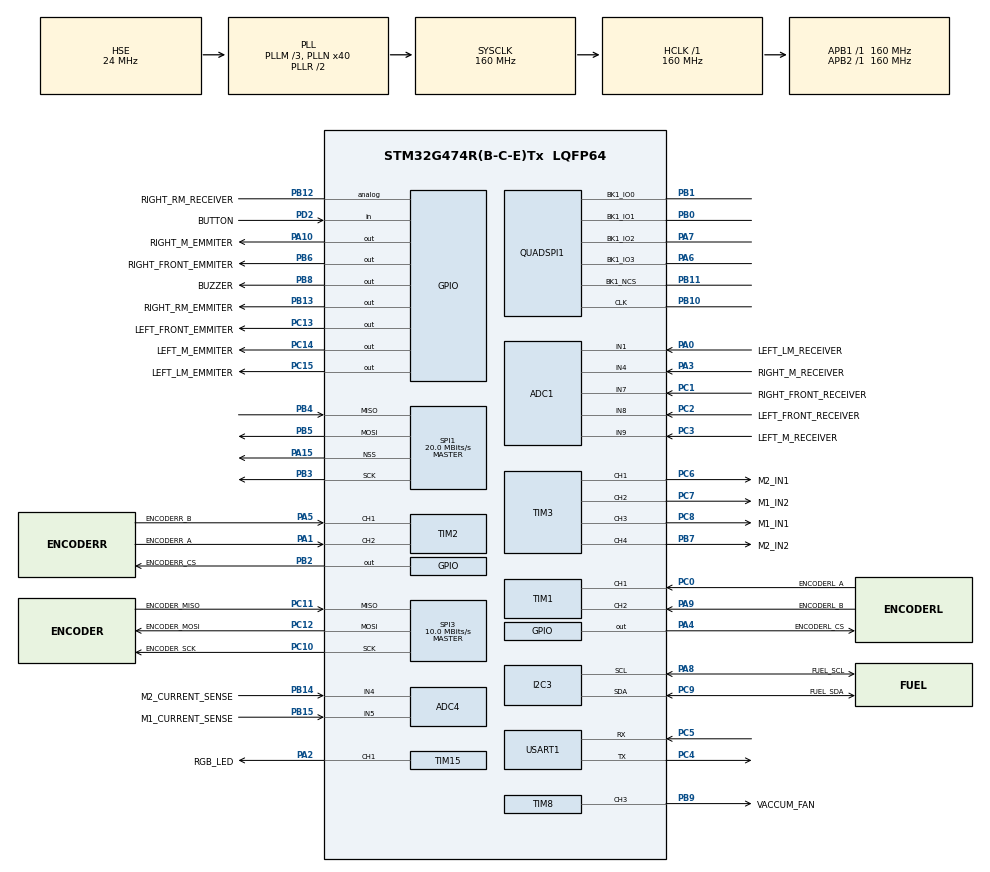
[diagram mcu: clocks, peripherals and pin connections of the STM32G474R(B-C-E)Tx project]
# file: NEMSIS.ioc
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ADC1.Channel-0\#ChannelRegularConversion=ADC_CHANNEL_1
ADC1.NbrOfConversionFlag=1
ADC1.OffsetNumber-0\#ChannelRegularConversion=ADC_OFFSET_NONE
ADC1.Rank-0\#ChannelRegularConversion=1
ADC1.SamplingTime-0\#ChannelRegularConversion=ADC_SAMPLETIME_2CYCLES_5
ADC1.master=1
ADC4.Channel-0\#ChannelRegularConversion=ADC_CHANNEL_4
ADC4.NbrOfConversionFlag=1
ADC4.OffsetNumber-0\#ChannelRegularConversion=ADC_OFFSET_NONE
ADC4.Rank-0\#ChannelRegularConversion=1
ADC4.SamplingTime-0\#ChannelRegularConversion=ADC_SAMPLETIME_2CYCLES_5
Dma.Request0=TIM15_CH1
Dma.TIM15_CH1.0.Direction=DMA_MEMORY_TO_PERIPH
Dma.TIM15_CH1.0.EventEnable=DISABLE
Dma.TIM15_CH1.0.Instance=DMA1_Channel1
Dma.TIM15_CH1.0.MemDataAlignment=DMA_MDATAALIGN_HALFWORD
Dma.TIM15_CH1.0.MemInc=DMA_MINC_ENABLE
Dma.TIM15_CH1.0.Mode=DMA_NORMAL
Dma.TIM15_CH1.0.PeriphDataAlignment=DMA_PDATAALIGN_HALFWORD
Dma.TIM15_CH1.0.PeriphInc=DMA_PINC_DISABLE
Dma.TIM15_CH1.0.Polarity=HAL_DMAMUX_REQ_GEN_RISING
Dma.TIM15_CH1.0.Priority=DMA_PRIORITY_LOW
Dma.TIM15_CH1.0.RequestNumber=1
Dma.TIM15_CH1.0.SignalID=NONE
Dma.TIM15_CH1.0.SyncEnable=DISABLE
Dma.TIM15_CH1.0.SyncPolarity=HAL_DMAMUX_SYNC_NO_EVENT
Dma.TIM15_CH1.0.SyncRequestNumber=1
Dma.TIM15_CH1.0.SyncSignalID=NONE
I2C3.Timing=0x30D29DE4
Mcu.Family=STM32G4
Mcu.Name=STM32G474R(B-C-E)Tx
Mcu.Package=LQFP64
NVIC.DMA1_Channel1_IRQn=true\:0\:0\:false\:false\:true\:false\:true\:true
NVIC.PriorityGroup=NVIC_PRIORITYGROUP_4
NVIC.TIM1_BRK_TIM15_IRQn=true\:0\:0\:false\:false\:true\:true\:true\:true
PA0.GPIO_Label=LEFT_LM_RECEIVER
PA0.Mode=IN1-Single-Ended
PA0.Signal=ADC1_IN1
PA1.GPIO_Label=ENCODERR_A
PA1.Signal=S_TIM2_CH2
PA10.GPIO_Label=RIGHT_M_EMMITER
PA10.Signal=GPIO_Output
PA13.Mode=Serial_Wire
PA13.Signal=SYS_JTMS-SWDIO
PA14.Mode=Serial_Wire
PA14.Signal=SYS_JTCK-SWCLK
PA15.Mode=NSS_Signal_Hard_Output
PA15.Signal=SPI1_NSS
PA2.GPIO_Label=RGB_LED
PA2.Signal=S_TIM15_CH1
PA3.GPIO_Label=RIGHT_M_RECEIVER
PA3.Mode=IN4-Single-Ended
PA3.Signal=ADC1_IN4
PA4.GPIO_Label=ENCODERL_CS
PA4.Signal=GPIO_Output
PA5.GPIO_Label=ENCODERR_B
PA5.Signal=S_TIM2_CH1
PA6.GPIO_Speed=GPIO_SPEED_FREQ_VERY_HIGH
PA6.Mode=Single Bank 1
PA6.Signal=QUADSPI1_BK1_IO3
PA7.GPIO_Speed=GPIO_SPEED_FREQ_VERY_HIGH
PA7.Mode=Single Bank 1
PA7.Signal=QUADSPI1_BK1_IO2
PA8.GPIO_Label=FUEL_SCL
PA8.GPIO_Pu=GPIO_PULLUP
PA8.Mode=I2C
PA8.Signal=I2C3_SCL
PA9.GPIO_Label=ENCODERL_B
PA9.Signal=S_TIM1_CH2
PB0.GPIO_Speed=GPIO_SPEED_FREQ_VERY_HIGH
PB0.Mode=Single Bank 1
PB0.Signal=QUADSPI1_BK1_IO1
PB1.GPIO_Speed=GPIO_SPEED_FREQ_VERY_HIGH
PB1.Mode=Single Bank 1
PB1.Signal=QUADSPI1_BK1_IO0
PB10.GPIO_Speed=GPIO_SPEED_FREQ_VERY_HIGH
PB10.Mode=Single Bank 1
PB10.Signal=QUADSPI1_CLK
PB11.GPIO_Speed=GPIO_SPEED_FREQ_VERY_HIGH
PB11.Mode=Single Bank 1
PB11.Signal=QUADSPI1_BK1_NCS
PB12.GPIO_Label=RIGHT_RM_RECEIVER
PB12.Signal=GPIO_Analog
PB13.GPIO_Label=RIGHT_RM_EMMITER
PB13.Signal=GPIO_Output
PB14.GPIO_Label=M2_CURRENT_SENSE
PB14.Mode=IN4-Single-Ended
PB14.Signal=ADC4_IN4
PB15.GPIO_Label=M1_CURRENT_SENSE
PB15.Mode=IN5-Single-Ended
PB15.Signal=ADC4_IN5
PB2.GPIO_Label=ENCODERR_CS
PB2.Signal=GPIO_Output
PB3.Mode=Full_Duplex_Master
PB3.Signal=SPI1_SCK
PB4.Mode=Full_Duplex_Master
PB4.Signal=SPI1_MISO
PB5.Mode=Full_Duplex_Master
PB5.Signal=SPI1_MOSI
PB6.GPIO_Label=RIGHT_FRONT_EMMITER
PB6.Signal=GPIO_Output
PB7.GPIO_Label=M2_IN2
PB7.Signal=S_TIM3_CH4
PB8-BOOT0.GPIO_Label=BUZZER
PB8-BOOT0.Signal=GPIO_Output
PB9.GPIO_Label=VACCUM_FAN
PB9.Signal=S_TIM8_CH3
PC0.GPIO_Label=ENCODERL_A
PC0.Signal=S_TIM1_CH1
PC1.GPIO_Label=RIGHT_FRONT_RECEIVER
PC1.Mode=IN7-Single-Ended
PC1.Signal=ADC1_IN7
PC10.GPIO_Label=ENCODER_SCK
PC10.Mode=Full_Duplex_Master
PC10.Signal=SPI3_SCK
PC11.GPIO_Label=ENCODER_MISO
PC11.Mode=Full_Duplex_Master
PC11.Signal=SPI3_MISO
PC12.GPIO_Label=ENCODER_MOSI
PC12.Mode=Full_Duplex_Master
PC12.Signal=SPI3_MOSI
PC13.GPIO_Label=LEFT_FRONT_EMMITER
PC13.Signal=GPIO_Output
PC14-OSC32_IN.GPIO_Label=LEFT_M_EMMITER
PC14-OSC32_IN.Signal=GPIO_Output
PC15-OSC32_OUT.GPIO_Label=LEFT_LM_EMMITER
PC15-OSC32_OUT.Signal=GPIO_Output
PC2.GPIO_Label=LEFT_FRONT_RECEIVER
PC2.Mode=IN8-Single-Ended
PC2.Signal=ADC1_IN8
PC3.GPIO_Label=LEFT_M_RECEIVER
PC3.Mode=IN9-Single-Ended
PC3.Signal=ADC1_IN9
PC4.Mode=Asynchronous
PC4.Signal=USART1_TX
PC5.Mode=Asynchronous
PC5.Signal=USART1_RX
PC6.GPIO_Label=M2_IN1
PC6.Signal=S_TIM3_CH1
PC7.GPIO_Label=M1_IN2
PC7.Signal=S_TIM3_CH2
PC8.GPIO_Label=M1_IN1
PC8.Signal=S_TIM3_CH3
PC9.GPIO_Label=FUEL_SDA
PC9.GPIO_Pu=GPIO_PULLUP
PC9.Mode=I2C
PC9.Signal=I2C3_SDA
PD2.GPIO_Label=BUTTON
PD2.Signal=GPIO_Input
PF0-OSC_IN.Mode=HSE-External-Oscillator
PF0-OSC_IN.Signal=RCC_OSC_IN
PF1-OSC_OUT.Mode=HSE-External-Oscillator
PF1-OSC_OUT.Signal=RCC_OSC_OUT
ProjectManager.HeapSize=0x200
ProjectManager.StackSize=0x400
ProjectManager.TargetToolchain=STM32CubeIDE
QUADSPI1.ChipSelectHighTime=QSPI_CS_HIGH_TIME_6_CYCLE
QUADSPI1.ClockPrescaler=3
QUADSPI1.FifoThreshold=4
QUADSPI1.FlashSize=21
RCC.ADC12Freq_Value=160000000
RCC.ADC345Freq_Value=160000000
RCC.AHBFreq_Value=160000000
RCC.APB1Freq_Value=160000000
RCC.APB1TimFreq_Value=160000000
RCC.APB2Freq_Value=160000000
RCC.APB2TimFreq_Value=160000000
RCC.CortexFreq_Value=160000000
RCC.EXTERNAL_CLOCK_VALUE=12288000
RCC.HCLKFreq_Value=160000000
RCC.HSE_VALUE=24000000
RCC.HSI48_VALUE=48000000
RCC.HSI_VALUE=16000000
RCC.LSE_VALUE=32768
RCC.PLLM=RCC_PLLM_DIV3
RCC.PLLN=40
RCC.PLLQ=RCC_PLLQ_DIV4
RCC.PLLSourceVirtual=RCC_PLLSOURCE_HSE
RCC.SYSCLKFreq_VALUE=160000000
RCC.SYSCLKSource=RCC_SYSCLKSOURCE_PLLCLK
RCC.USBFreq_Value=80000000
RCC.VCOOutputFreq_Value=320000000
SH.S_TIM15_CH1.0=TIM15_CH1,PWM Generation1 CH1
SH.S_TIM1_CH1.0=TIM1_CH1,Encoder_Interface
SH.S_TIM1_CH2.0=TIM1_CH2,Encoder_Interface
SH.S_TIM2_CH1.0=TIM2_CH1,Encoder_Interface
SH.S_TIM2_CH2.0=TIM2_CH2,Encoder_Interface
SH.S_TIM3_CH1.0=TIM3_CH1,PWM Generation1 CH1
SH.S_TIM3_CH2.0=TIM3_CH2,Output Compare2 CH2
SH.S_TIM3_CH3.0=TIM3_CH3,PWM Generation3 CH3
SH.S_TIM3_CH4.0=TIM3_CH4,PWM Generation4 CH4
SH.S_TIM8_CH3.0=TIM8_CH3,PWM Generation3 CH3
SPI1.BaudRatePrescaler=SPI_BAUDRATEPRESCALER_8
SPI1.CalculateBaudRate=20.0 MBits/s
SPI1.DataSize=SPI_DATASIZE_8BIT
SPI1.Direction=SPI_DIRECTION_2LINES
SPI1.Mode=SPI_MODE_MASTER
SPI1.VirtualNSS=VM_NSSHARD
SPI1.VirtualType=VM_MASTER
SPI3.BaudRatePrescaler=SPI_BAUDRATEPRESCALER_16
SPI3.CLKPhase=SPI_PHASE_2EDGE
SPI3.CalculateBaudRate=10.0 MBits/s
SPI3.DataSize=SPI_DATASIZE_8BIT
SPI3.Direction=SPI_DIRECTION_2LINES
SPI3.Mode=SPI_MODE_MASTER
SPI3.VirtualType=VM_MASTER
TIM15.Channel-PWM\ Generation1\ CH1=TIM_CHANNEL_1
TIM15.PeriodNoDither=100-1
TIM15.Prescaler=2-1
TIM3.Channel-Output\ Compare2\ CH2=TIM_CHANNEL_2
TIM3.Channel-PWM\ Generation1\ CH1=TIM_CHANNEL_1
TIM3.Channel-PWM\ Generation3\ CH3=TIM_CHANNEL_3
TIM3.Channel-PWM\ Generation4\ CH4=TIM_CHANNEL_4
TIM8.Channel-PWM\ Generation3\ CH3=TIM_CHANNEL_3
USART1.VirtualMode-Asynchronous=VM_ASYNC
VP_SYS_VS_DBSignals.Mode=DisableDeadBatterySignals
board=custom

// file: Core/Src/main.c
/* USER CODE BEGIN Header */
/**
 ******************************************************************************
 * @file           : main.c
 * @brief          : Main program body
 ******************************************************************************
 * @attention
 *
 * Copyright (c) 2026 STMicroelectronics.
 * All rights reserved.
 *
 * This software is licensed under terms that can be found in the LICENSE file
 * in the root directory of this software component.
 * If no LICENSE file comes with this software, it is provided AS-IS.
 *
 ******************************************************************************
 */
/* USER CODE END Header */
#include "main.h"

/* USER CODE BEGIN Includes */
#include "ws2812.h"
#include "buzzer.h"
#include "dbg.h"
#include "icm42688.h"
#include "max17049.h"
#include "motor.h"
#include "as5047p.h"
#include "battery.h"
#include "console.h"
#include "sensors.h"
#include "launcher.h"
#include "control.h"
#include "solver.h"
#include "mazestore.h"
/* USER CODE END Includes */

ADC_HandleTypeDef hadc1;
ADC_HandleTypeDef hadc4;

I2C_HandleTypeDef hi2c3;

QSPI_HandleTypeDef hqspi1;

SPI_HandleTypeDef hspi1;
SPI_HandleTypeDef hspi3;

TIM_HandleTypeDef htim1;
TIM_HandleTypeDef htim2;
TIM_HandleTypeDef htim3;
TIM_HandleTypeDef htim8;
TIM_HandleTypeDef htim15;
DMA_HandleTypeDef hdma_tim15_ch1;

UART_HandleTypeDef huart1;

void SystemClock_Config(void);
static void MX_GPIO_Init(void);
static void MX_DMA_Init(void);
static void MX_TIM15_Init(void);
static void MX_SPI1_Init(void);
static void MX_I2C3_Init(void);
static void MX_ADC4_Init(void);
static void MX_SPI3_Init(void);
static void MX_TIM1_Init(void);
static void MX_TIM2_Init(void);
static void MX_ADC1_Init(void);
static void MX_TIM8_Init(void);
static void MX_USART1_UART_Init(void);
static void MX_TIM3_Init(void);
static void MX_QUADSPI1_Init(void);

/* USER CODE BEGIN 0 */

/* ====================== IR reflectance sensors ========================
   6 emitter/receiver pairs. Naming: side (LEFT/RIGHT) + position
   (LM = left-most, M = middle, FRONT). Emitters are GPIO outputs that drive
   an IR LED through a MOSFET (active-HIGH). Receivers are phototransistors
   read by an ADC.

   Receiver -> ADC mapping (from main.h pins / CubeMX MSP comments):
     RIGHT_RM    PB12 -> ADC4_IN3   (hadc4)
     LEFT_LM     PA0  -> ADC1_IN1   \
     RIGHT_M     PA3  -> ADC1_IN4    |
     RIGHT_FRONT PC1  -> ADC1_IN7    >  ADC1 (hadc1), configured in CubeMX
     LEFT_FRONT  PC2  -> ADC1_IN8    |
     LEFT_M      PC3  -> ADC1_IN9   /
   ====================================================================== */

#define IR_AVG_SAMPLES  16U     /* conversions averaged per phase (noise floor) */

/* Average N single conversions of one channel on the given ADC. Reconfigures
   the channel each call so one ADC can be shared across several inputs. */
static uint16_t ADC_ReadAvg(ADC_HandleTypeDef *adc, uint32_t channel, uint32_t n)
{
  ADC_ChannelConfTypeDef c = {0};
  c.Channel      = channel;
  c.Rank         = ADC_REGULAR_RANK_1;
  c.SamplingTime = ADC_SAMPLETIME_640CYCLES_5;  /* high-Z phototransistor node */
  c.SingleDiff   = ADC_SINGLE_ENDED;
  c.OffsetNumber = ADC_OFFSET_NONE;
  c.Offset       = 0;
  HAL_ADC_ConfigChannel(adc, &c);

  uint32_t acc = 0;
  for (uint32_t i = 0; i < n; i++)
  {
    HAL_ADC_Start(adc);
    HAL_ADC_PollForConversion(adc, 10);
    acc += HAL_ADC_GetValue(adc);
    HAL_ADC_Stop(adc);
  }
  return (uint16_t)(acc / n);
}

/* One IR sensor: its emitter GPIO + the ADC + channel its receiver sits on. */
typedef struct
{
  const char        *name;
  GPIO_TypeDef      *em_port;
  uint16_t           em_pin;
  ADC_HandleTypeDef *adc;
  uint32_t           channel;
} IR_Sensor;

#define IR_COUNT 6
static const IR_Sensor ir_sensors[IR_COUNT] =
{
  { "L_LM", LEFT_LM_EMMITER_GPIO_Port,     LEFT_LM_EMMITER_Pin,     &hadc1, ADC_CHANNEL_1 }, /* recv PA0=ADC1_IN1 */
  { "L_M",  LEFT_M_EMMITER_GPIO_Port,      LEFT_M_EMMITER_Pin,      &hadc1, ADC_CHANNEL_9 }, /* recv PC3=ADC1_IN9 */
  { "L_F",  LEFT_FRONT_EMMITER_GPIO_Port,  LEFT_FRONT_EMMITER_Pin,  &hadc1, ADC_CHANNEL_8 }, /* recv PC2=ADC1_IN8 */
  { "R_F",  RIGHT_FRONT_EMMITER_GPIO_Port, RIGHT_FRONT_EMMITER_Pin, &hadc1, ADC_CHANNEL_7 }, /* recv PC1=ADC1_IN7 */
  { "R_M",  RIGHT_M_EMMITER_GPIO_Port,     RIGHT_M_EMMITER_Pin,     &hadc1, ADC_CHANNEL_4 }, /* recv PA3=ADC1_IN4 */
  { "R_RM", RIGHT_RM_EMMITER_GPIO_Port,    RIGHT_RM_EMMITER_Pin,    &hadc4,    ADC_CHANNEL_3 }, /* recv PB12=ADC4_IN3 */
};

/* Reflective read of one sensor: emitter OFF (ambient) then ON (ambient + IR);
   reflected = lit - ambient. Only one emitter is ever on at a time, so there's
   no optical crosstalk between sensors. Emitter assumed active-HIGH. */
static void IR_Read(const IR_Sensor *s, uint16_t *amb, uint16_t *lit)
{
  HAL_GPIO_WritePin(s->em_port, s->em_pin, GPIO_PIN_RESET);
  HAL_Delay(1);
  *amb = ADC_ReadAvg(s->adc, s->channel, IR_AVG_SAMPLES);

  HAL_GPIO_WritePin(s->em_port, s->em_pin, GPIO_PIN_SET);
  HAL_Delay(1);                                   /* let LED + receiver settle */
  *lit = ADC_ReadAvg(s->adc, s->channel, IR_AVG_SAMPLES);

  HAL_GPIO_WritePin(s->em_port, s->em_pin, GPIO_PIN_RESET);
}

/* USER CODE END 0 */

int main(void)
{

  /* USER CODE BEGIN 1 */
#ifdef APP_VTOR_BASE
  /* OTA-relocated build (env:app_ota): the app lives at 0x08008000, reached via
     the bootloader. Point the vector table at the app base HERE, before HAL_Init
     enables SysTick or any IRQ - unambiguous and independent of the framework's
     fragile VECT_TAB_OFFSET macro. (The bootloader also sets VTOR before the
     jump; this makes the app self-correct regardless of how it was entered.) */
  SCB->VTOR = (uint32_t)(APP_VTOR_BASE);
#endif
  uint32_t last_led = 0;     /* heartbeat LED scheduler */
  uint8_t  led_step = 0;
  uint32_t last_sens = 0;    /* IR sensor sweep scheduler (~100 Hz) */
  /* USER CODE END 1 */

  /* MCU Configuration--------------------------------------------------------*/

  /* Reset of all peripherals, Initializes the Flash interface and the Systick. */
  HAL_Init();

  /* Configure the system clock */
  SystemClock_Config();

  /* Initialize all configured peripherals */
  MX_GPIO_Init();
  MX_DMA_Init();
  MX_TIM15_Init();
  MX_SPI1_Init();
  MX_I2C3_Init();
  MX_ADC4_Init();
  MX_SPI3_Init();
  MX_TIM1_Init();
  MX_TIM2_Init();
  MX_ADC1_Init();
  MX_TIM8_Init();
  MX_USART1_UART_Init();
  MX_TIM3_Init();
  MX_QUADSPI1_Init();
  /* USER CODE BEGIN 2 */
  DBG_Init();
  LOG("\r\n=== Nemisis boot ===\r\n");
  LOG("build: " __DATE__ " " __TIME__ "\r\n");   /* prove which binary is running */

  /* --- Persistent maze / speed-run memory (internal flash) --------------
     Reads the reset cause FIRST (before anything clears the flags): a cold
     power-on / battery swap KEEPS the last saved run, a warm NRST-button reset
     ERASES it. Then loads any saved map so a long-press fast run is available
     after a power cycle. Must run before the launcher/solver use the map. */
  MazeStore_Init();

  /* Recompute SystemCoreClock straight from the RCC registers, then dump the
     actual PLL config so we can see what the silicon is really doing. */
  SystemCoreClockUpdate();
  LOG("SYSCLK = %lu Hz  (HSE_VALUE=%lu)\r\n",
      (unsigned long)SystemCoreClock, (unsigned long)HSE_VALUE);
  LOG("PLLCFGR=0x%08lX  PLLM=%lu PLLN=%lu PLLR=%lu\r\n",
      (unsigned long)RCC->PLLCFGR,
      (unsigned long)(((RCC->PLLCFGR & RCC_PLLCFGR_PLLM) >> RCC_PLLCFGR_PLLM_Pos) + 1U),
      (unsigned long)((RCC->PLLCFGR & RCC_PLLCFGR_PLLN) >> RCC_PLLCFGR_PLLN_Pos),
      (unsigned long)((((RCC->PLLCFGR & RCC_PLLCFGR_PLLR) >> RCC_PLLCFGR_PLLR_Pos) + 1U) * 2U));
  LOG("CR=0x%08lX  HSERDY=%lu PLLRDY=%lu  CFGR_SWS=%lu (3=PLL)\r\n",
      (unsigned long)RCC->CR,
      (unsigned long)((RCC->CR & RCC_CR_HSERDY) ? 1U : 0U),
      (unsigned long)((RCC->CR & RCC_CR_PLLRDY) ? 1U : 0U),
      (unsigned long)((RCC->CFGR & RCC_CFGR_SWS) >> RCC_CFGR_SWS_Pos));

  Buzzer_Init();
  WS2812_Init(&htim15, TIM_CHANNEL_1);

  /* cool power-on chime */
  Buzzer_StartupSound();

  /* --- ICM-42688-P IMU bring-up check (SPI1) ---------------------------- */
  bool imu_ok = ICM42688_Init(&hspi1);       /* soft reset + WHO_AM_I + power on */
  uint8_t imu_who = ICM42688_ReadReg(&hspi1, 0x75);  /* read it back for the log */
  LOG("IMU WHO_AM_I = 0x%02X (expect 0x%02X) -> %s\r\n",
      imu_who, ICM42688_WHOAMI,
      imu_ok ? "OK" : "FAILED (check wiring/CS/SPI cfg)");

  /* --- I2C3 bus scan (diagnostic): list every 7-bit address that ACKs --- */
  LOG("I2C3 scan:");
  uint8_t found = 0;
  for (uint8_t a = 1; a < 128; a++)
  {
    if (HAL_I2C_IsDeviceReady(&hi2c3, (uint16_t)(a << 1), 2, 5) == HAL_OK)
    {
      LOG(" 0x%02X", a);
      found++;
    }
  }
  LOG("  (%u device(s))\r\n", found);

  /* --- MAX17049 fuel gauge bring-up check (I2C3) ------------------------ */
  bool fuel_ok = MAX17049_Probe(&hi2c3);
  if (fuel_ok)
  {
    MAX17049_Status s;
    MAX17049_ReadStatus(&hi2c3, &s);
    LOG("FUEL ver=0x%04X  pack=%ld mV  soc=%ld.%02ld %%  rate=%ld m%%/hr -> OK\r\n",
        s.version, (long)(s.pack_v * 1000.0f),
        (long)s.soc, (long)((s.soc - (long)s.soc) * 100.0f),
        (long)(s.crate * 1000.0f));
  }
  else
  {
    LOG("FUEL gauge: NO ACK (check I2C3 wiring / pull-ups / battery)\r\n");
  }

  /* --- AS5047P encoders bring-up check (shared SPI3, separate CS) -------
     Both encoders sit on SPI3; left CS=PA4, right CS=PB2. Each read pulses
     only its own CS, so they coexist on the one bus. */
  AS5047P_Handle encL, encR;
  AS5047P_Init(&encL, &hspi3, ENCODERL_CS_GPIO_Port, ENCODERL_CS_Pin);
  AS5047P_Init(&encR, &hspi3, ENCODERR_CS_GPIO_Port, ENCODERR_CS_Pin);
  bool encL_ok = AS5047P_Probe(&encL);
  bool encR_ok = AS5047P_Probe(&encR);
  LOG("ENCODERL raw=%u -> %s\r\n", AS5047P_ReadAngleRaw(&encL),
      encL_ok ? "OK" : "bad frame (check CS PA4 / MISO / power)");
  LOG("ENCODERR raw=%u -> %s\r\n", AS5047P_ReadAngleRaw(&encR),
      encR_ok ? "OK" : "bad frame (check CS PB2 / MISO / power)");

  /* ABI quadrature cross-check: left A/B (PC0/PA9) -> TIM1, right A/B
     (PA1/PA5) -> TIM2. Start both counters from zero. */
  HAL_TIM_Encoder_Start(&htim1, TIM_CHANNEL_ALL);
  HAL_TIM_Encoder_Start(&htim2, TIM_CHANNEL_ALL);
  __HAL_TIM_SET_COUNTER(&htim1, 0);
  __HAL_TIM_SET_COUNTER(&htim2, 0);

  /* --- All 6 IR reflectance sensors bring-up --------------------------
     Calibrate both ADCs (ADC4 for RIGHT_RM, ADC1 for the other five), then do
     one reflective read of each. With nothing in front 'refl' is small; bring
     a hand/wall close to a given sensor and only that one's 'refl' should jump. */
  HAL_ADCEx_Calibration_Start(&hadc4, ADC_SINGLE_ENDED);
  HAL_ADCEx_Calibration_Start(&hadc1, ADC_SINGLE_ENDED);
  for (int i = 0; i < IR_COUNT; i++)
  {
    uint16_t amb, lit;
    IR_Read(&ir_sensors[i], &amb, &lit);
    int delta = (int)lit - (int)amb;
    LOG("IR %-4s: ambient=%4u lit=%4u reflected=%5d -> %s\r\n",
        ir_sensors[i].name, amb, lit, delta,
        (delta > 20 || delta < -20) ? "responding" : "weak/none (check wiring/polarity)");
  }

  /* --- Vacuum fan bring-up (PB9 = TIM8_CH3 PWM, MOSFET-driven) ----------
     TIM8 is an advanced timer, so HAL_TIM_PWM_Start also flips the main output
     enable (MOE) for us. Period=65535, so CCR = duty% * 65535 / 100. Start at
     0% (fan off) and ramp it in the loop below so you can hear/feel each step.
     WARNING: secure the robot - the fan pulls air hard at 100%. */
  HAL_TIM_PWM_Start(&htim8, TIM_CHANNEL_3);
  __HAL_TIM_SET_COMPARE(&htim8, TIM_CHANNEL_3, 0);
  LOG("VACUUM FAN on PB9 (TIM8_CH3) ready - ramping 0/25/50/75/100%% in loop\r\n");

  LOG("init done\r\n");

  /* --- DRV8874 motor movement test (M1: PC8/PC7, M2: PC6/PB7) -----------
     Runs ONCE at boot: both forward, both reverse, pivot one way, pivot the
     other, then stops. WARNING: the robot WILL drive - put it on a stand or
     in clear space first. 3 s grace delay below so you can let go. Watch RTT
     for the per-phase current sense. Set this #if to 0 once verified. */
/* Motors are now driven interactively from the console ('motor ...' /
   'motor test'); the old auto-drive-at-boot is disabled for safety. */
#if 0
  Motor_TestInit(&hadc4);
  LOG("MOTOR demo starting in 3 s - clear the bench / put on stand...\r\n");
  HAL_Delay(3000);
  Motor_DriveSequence(&hadc4);
#endif

  /* --- Interactive debug console (RTT + USART1->ESP32) ------------------
     Type 'help' over J-Link RTT Viewer (or the ESP32/WiFi link) to drive any
     subsystem on demand. This replaces the old fixed demo loop. */
  ConsoleCtx con = {
    .hspi_imu  = &hspi1,
    .hspi_enc  = &hspi3,
    .hi2c_fuel = &hi2c3,
    .hadc1     = &hadc1,
    .hadc4     = &hadc4,
    .htim_fan  = &htim8,
    .htim_mot  = &htim3,
    .htim_encL = &htim1,
    .htim_encR = &htim2,
    .huart     = &huart1,
    .hqspi     = &hqspi1,
  };
  Console_Init(&con);

  /* --- Battery safety monitor (MAX17049 on I2C3) -----------------------
     Watches pack voltage; blocks + kills motors/vacuum when CRITICAL and
     signals state on the RGB LED + buzzer. Voltage-based, not SOC-based.
     Must come after WS2812/Buzzer init and the fan PWM start. */
  Battery_Init(&hi2c3, &htim8, TIM_CHANNEL_3);
  LOG("BATTERY monitor armed (crit<%umV low<%umV) - state=%s\r\n",
      (unsigned)BATTERY_CRIT_MV, (unsigned)BATTERY_LOW_MV,
      Battery_StateName(Battery_State()));

  /* --- IR wall sensors (6x reflectance on ADC1/ADC4) -------------------
     Acquisition layer for wall detection + corridor centring. Swept from the
     main loop below (~100 Hz); ADCs are already calibrated in Console_Init. */
  Sensors_Init(&hadc1, &hadc4);
  Sensors_CalLoad();                 /* restore wall-sensor calibration from flash */
  LOG("SENSORS armed (6x IR, ~100 Hz sweep) - 'walls' to view\r\n");

  /* --- Offline race-start launcher (button PD2 + front-sensor gesture) ---
     Press the button to go fully offline (mutes the WiFi link so it can't jitter
     the loop), wave a hand over the two front sensors to arm, 3 s countdown, then
     it runs the solve with no app attached. Button again = cancel/abort. */
  Launcher_Init();
  LOG("LAUNCHER ready - press button for offline run (hand over front IR to go)\r\n");
  /* USER CODE END 2 */

  /* Infinite loop */
  while (1)
  {

    /* USER CODE BEGIN 3 */
    /* Non-blocking: parse any command from RTT/USART1 and stream live samples
       for whichever subsystem is active. All interactive debug lives here. */
    Console_Task();

    /* IR wall-sensor sweep at ~200 Hz (every 5 ms). Polling for now; the 1 kHz
       control loop preempts it so its timing is unaffected. (Restored to 200 Hz
       for lower centring lag now that the boot hang - a UART TX-ring deadlock,
       unrelated to the sweep rate - is fixed. ~4 mm lag at mapping speed. The
       real low-lag fix is still the DMA transport swap for the speed run - see
       the navigator-cell-motion / ir-wall-sensors notes / fast-run-dma reminder.) */
    /* Speed-adaptive IR: faster sweep (fewer samples) + more often when moving
       fast, to cut the position lag that makes fast runs drift; clean + 5 ms when
       slow/stationary. */
    float wcps = Control_GetWheelSpeedCps();
    Sensors_AdaptTiming(wcps);
    /* Drop to the 3 ms (effectively back-to-back) sweep rate from 6000 cps so the
       8000 cps SEARCH speed also gets the fresher reads on a cell approach - cuts
       front-wall detection latency (~5->3 ms) so the front-stop brakes sooner and
       stops bumping walls. Per-read timing is unchanged (AdaptTiming stays off),
       so the readings still match the stationary calibration. */
    uint32_t sweep_ms = (wcps > 6000.0f) ? 3U : 5U;
    if ((HAL_GetTick() - last_sens) >= sweep_ms)
    {
      last_sens = HAL_GetTick();
      Sensors_Update();               /* blocking sweep (no-op when async is on)   */
    }
    /* Non-blocking background sweep: pumped EVERY pass (ungated). Owns the sweep
       when 'irasync on', else returns immediately. This is the DMA-alternative -
       it frees the ~3.4 ms the blocking sweep spins without any DMA/timer/IRQ. */
    Sensors_Pump();

    /* Battery safety: poll the gauge, run the cut-off FSM, drive the LED/buzzer
       warning. Owns the RGB LED whenever the pack isn't healthy. */
    Battery_Task();

    /* Offline race-start sequencer: button -> mute WiFi -> hand gesture ->
       countdown -> solve. Owns the LEDs while armed/counting/running. */
    Launcher_Task();

    /* Heartbeat: cycle the RGB LED dimly once a second so you can see the
       firmware is alive without spamming the console. Skipped while the battery
       monitor owns the LED (LOW/CRITICAL) or the offline launcher owns it. */
    if (Battery_State() == BATT_OK && !Launcher_Active() &&
        (HAL_GetTick() - last_led) >= 1000U)
    {
      last_led = HAL_GetTick();
      switch (led_step)
      {
        case 0:  WS2812_SetAll(8, 0, 0); break;   /* red   */
        case 1:  WS2812_SetAll(0, 8, 0); break;   /* green */
        default: WS2812_SetAll(0, 0, 8); break;   /* blue  */
      }
      WS2812_Show();
      led_step = (led_step + 1U) % 3U;
    }
  }
  /* USER CODE END 3 */
}

void SystemClock_Config(void)
{
  RCC_OscInitTypeDef RCC_OscInitStruct = {0};
  RCC_ClkInitTypeDef RCC_ClkInitStruct = {0};

  /** Configure the main internal regulator output voltage
  */
  HAL_PWREx_ControlVoltageScaling(PWR_REGULATOR_VOLTAGE_SCALE1_BOOST);

  /** Initializes the RCC Oscillators according to the specified parameters
  * in the RCC_OscInitTypeDef structure.
  */
  RCC_OscInitStruct.OscillatorType = RCC_OSCILLATORTYPE_HSE;
  RCC_OscInitStruct.HSEState = RCC_HSE_ON;
  RCC_OscInitStruct.PLL.PLLState = RCC_PLL_ON;
  RCC_OscInitStruct.PLL.PLLSource = RCC_PLLSOURCE_HSE;
  RCC_OscInitStruct.PLL.PLLM = RCC_PLLM_DIV3;
  RCC_OscInitStruct.PLL.PLLN = 40;
  RCC_OscInitStruct.PLL.PLLP = RCC_PLLP_DIV2;
  RCC_OscInitStruct.PLL.PLLQ = RCC_PLLQ_DIV4;
  RCC_OscInitStruct.PLL.PLLR = RCC_PLLR_DIV2;
  if (HAL_RCC_OscConfig(&RCC_OscInitStruct) != HAL_OK)
  {
    Error_Handler();
  }

  /** Initializes the CPU, AHB and APB buses clocks
  */
  RCC_ClkInitStruct.ClockType = RCC_CLOCKTYPE_HCLK|RCC_CLOCKTYPE_SYSCLK
                              |RCC_CLOCKTYPE_PCLK1|RCC_CLOCKTYPE_PCLK2;
  RCC_ClkInitStruct.SYSCLKSource = RCC_SYSCLKSOURCE_PLLCLK;
  RCC_ClkInitStruct.AHBCLKDivider = RCC_SYSCLK_DIV1;
  RCC_ClkInitStruct.APB1CLKDivider = RCC_HCLK_DIV1;
  RCC_ClkInitStruct.APB2CLKDivider = RCC_HCLK_DIV1;

  if (HAL_RCC_ClockConfig(&RCC_ClkInitStruct, FLASH_LATENCY_4) != HAL_OK)
  {
    Error_Handler();
  }
}

static void MX_ADC1_Init(void)
{

  ADC_MultiModeTypeDef multimode = {0};
  ADC_ChannelConfTypeDef sConfig = {0};

  /** Common config
  */
  hadc1.Instance = ADC1;
  hadc1.Init.ClockPrescaler = ADC_CLOCK_SYNC_PCLK_DIV4;
  hadc1.Init.Resolution = ADC_RESOLUTION_12B;
  hadc1.Init.DataAlign = ADC_DATAALIGN_RIGHT;
  hadc1.Init.GainCompensation = 0;
  hadc1.Init.ScanConvMode = ADC_SCAN_DISABLE;
  hadc1.Init.EOCSelection = ADC_EOC_SINGLE_CONV;
  hadc1.Init.LowPowerAutoWait = DISABLE;
  hadc1.Init.ContinuousConvMode = DISABLE;
  hadc1.Init.NbrOfConversion = 1;
  hadc1.Init.DiscontinuousConvMode = DISABLE;
  hadc1.Init.ExternalTrigConv = ADC_SOFTWARE_START;
  hadc1.Init.ExternalTrigConvEdge = ADC_EXTERNALTRIGCONVEDGE_NONE;
  hadc1.Init.DMAContinuousRequests = DISABLE;
  hadc1.Init.Overrun = ADC_OVR_DATA_PRESERVED;
  /* HARDWARE OVERSAMPLER (IR-acquisition Increment A, added by hand - re-apply if
     you regen from CubeMX). 8x average with a 3-bit right shift keeps the 12-bit
     scale, so one conversion returns the mean of 8 samples in hardware. Replaces
     the 8x software poll loop in sensors.c (adc_read_avg) -> same averaged value,
     far less CPU per sweep. Also averages the DRV8874 current sense on ADC4 (a
     free win, scale unchanged). */
  hadc1.Init.OversamplingMode = ENABLE;
  hadc1.Init.Oversampling.Ratio = ADC_OVERSAMPLING_RATIO_8;
  hadc1.Init.Oversampling.RightBitShift = ADC_RIGHTBITSHIFT_3;
  hadc1.Init.Oversampling.TriggeredMode = ADC_TRIGGEREDMODE_SINGLE_TRIGGER;
  hadc1.Init.Oversampling.OversamplingStopReset = ADC_REGOVERSAMPLING_CONTINUED_MODE;
  if (HAL_ADC_Init(&hadc1) != HAL_OK)
  {
    Error_Handler();
  }

  /** Configure the ADC multi-mode
  */
  multimode.Mode = ADC_MODE_INDEPENDENT;
  if (HAL_ADCEx_MultiModeConfigChannel(&hadc1, &multimode) != HAL_OK)
  {
    Error_Handler();
  }

  /** Configure Regular Channel
  */
  sConfig.Channel = ADC_CHANNEL_1;
  sConfig.Rank = ADC_REGULAR_RANK_1;
  sConfig.SamplingTime = ADC_SAMPLETIME_2CYCLES_5;
  sConfig.SingleDiff = ADC_SINGLE_ENDED;
  sConfig.OffsetNumber = ADC_OFFSET_NONE;
  sConfig.Offset = 0;
  if (HAL_ADC_ConfigChannel(&hadc1, &sConfig) != HAL_OK)
  {
    Error_Handler();
  }

}

static void MX_ADC4_Init(void)
{

  ADC_ChannelConfTypeDef sConfig = {0};

  /** Common config
  */
  hadc4.Instance = ADC4;
  hadc4.Init.ClockPrescaler = ADC_CLOCK_SYNC_PCLK_DIV4;
  hadc4.Init.Resolution = ADC_RESOLUTION_12B;
  hadc4.Init.DataAlign = ADC_DATAALIGN_RIGHT;
  hadc4.Init.GainCompensation = 0;
  hadc4.Init.ScanConvMode = ADC_SCAN_DISABLE;
  hadc4.Init.EOCSelection = ADC_EOC_SINGLE_CONV;
  hadc4.Init.LowPowerAutoWait = DISABLE;
  hadc4.Init.ContinuousConvMode = DISABLE;
  hadc4.Init.NbrOfConversion = 1;
  hadc4.Init.DiscontinuousConvMode = DISABLE;
  hadc4.Init.ExternalTrigConv = ADC_SOFTWARE_START;
  hadc4.Init.ExternalTrigConvEdge = ADC_EXTERNALTRIGCONVEDGE_NONE;
  hadc4.Init.DMAContinuousRequests = DISABLE;
  hadc4.Init.Overrun = ADC_OVR_DATA_PRESERVED;
  /* HARDWARE OVERSAMPLER - see the ADC1 note above (IR Increment A, re-apply after
     a CubeMX regen). R_RM lives on ADC4; the motor current sense shares it and just
     gets a cleaner averaged reading (same scale). */
  hadc4.Init.OversamplingMode = ENABLE;
  hadc4.Init.Oversampling.Ratio = ADC_OVERSAMPLING_RATIO_8;
  hadc4.Init.Oversampling.RightBitShift = ADC_RIGHTBITSHIFT_3;
  hadc4.Init.Oversampling.TriggeredMode = ADC_TRIGGEREDMODE_SINGLE_TRIGGER;
  hadc4.Init.Oversampling.OversamplingStopReset = ADC_REGOVERSAMPLING_CONTINUED_MODE;
  if (HAL_ADC_Init(&hadc4) != HAL_OK)
  {
    Error_Handler();
  }

  /** Configure Regular Channel
  */
  sConfig.Channel = ADC_CHANNEL_4;
  sConfig.Rank = ADC_REGULAR_RANK_1;
  sConfig.SamplingTime = ADC_SAMPLETIME_2CYCLES_5;
  sConfig.SingleDiff = ADC_SINGLE_ENDED;
  sConfig.OffsetNumber = ADC_OFFSET_NONE;
  sConfig.Offset = 0;
  if (HAL_ADC_ConfigChannel(&hadc4, &sConfig) != HAL_OK)
  {
    Error_Handler();
  }

}

static void MX_I2C3_Init(void)
{

  hi2c3.Instance = I2C3;
  hi2c3.Init.Timing = 0x30D29DE4;
  hi2c3.Init.OwnAddress1 = 0;
  hi2c3.Init.AddressingMode = I2C_ADDRESSINGMODE_7BIT;
  hi2c3.Init.DualAddressMode = I2C_DUALADDRESS_DISABLE;
  hi2c3.Init.OwnAddress2 = 0;
  hi2c3.Init.OwnAddress2Masks = I2C_OA2_NOMASK;
  hi2c3.Init.GeneralCallMode = I2C_GENERALCALL_DISABLE;
  hi2c3.Init.NoStretchMode = I2C_NOSTRETCH_DISABLE;
  if (HAL_I2C_Init(&hi2c3) != HAL_OK)
  {
    Error_Handler();
  }

  /** Configure Analogue filter
  */
  if (HAL_I2CEx_ConfigAnalogFilter(&hi2c3, I2C_ANALOGFILTER_ENABLE) != HAL_OK)
  {
    Error_Handler();
  }

  /** Configure Digital filter
  */
  if (HAL_I2CEx_ConfigDigitalFilter(&hi2c3, 0) != HAL_OK)
  {
    Error_Handler();
  }

}

static void MX_QUADSPI1_Init(void)
{

  /* QUADSPI1 parameter configuration*/
  hqspi1.Instance = QUADSPI;
  hqspi1.Init.ClockPrescaler = 3;
  hqspi1.Init.FifoThreshold = 4;
  hqspi1.Init.SampleShifting = QSPI_SAMPLE_SHIFTING_NONE;
  hqspi1.Init.FlashSize = 21;
  hqspi1.Init.ChipSelectHighTime = QSPI_CS_HIGH_TIME_6_CYCLE;
  hqspi1.Init.ClockMode = QSPI_CLOCK_MODE_0;
  hqspi1.Init.FlashID = QSPI_FLASH_ID_1;
  hqspi1.Init.DualFlash = QSPI_DUALFLASH_DISABLE;
  if (HAL_QSPI_Init(&hqspi1) != HAL_OK)
  {
    Error_Handler();
  }

}

static void MX_SPI1_Init(void)
{

  /* SPI1 parameter configuration*/
  hspi1.Instance = SPI1;
  hspi1.Init.Mode = SPI_MODE_MASTER;
  hspi1.Init.Direction = SPI_DIRECTION_2LINES;
  hspi1.Init.DataSize = SPI_DATASIZE_8BIT;
  hspi1.Init.CLKPolarity = SPI_POLARITY_LOW;
  hspi1.Init.CLKPhase = SPI_PHASE_1EDGE;
  hspi1.Init.NSS = SPI_NSS_HARD_OUTPUT;
  hspi1.Init.BaudRatePrescaler = SPI_BAUDRATEPRESCALER_8;
  hspi1.Init.FirstBit = SPI_FIRSTBIT_MSB;
  hspi1.Init.TIMode = SPI_TIMODE_DISABLE;
  hspi1.Init.CRCCalculation = SPI_CRCCALCULATION_DISABLE;
  hspi1.Init.CRCPolynomial = 7;
  hspi1.Init.CRCLength = SPI_CRC_LENGTH_DATASIZE;
  hspi1.Init.NSSPMode = SPI_NSS_PULSE_ENABLE;
  if (HAL_SPI_Init(&hspi1) != HAL_OK)
  {
    Error_Handler();
  }

}

static void MX_SPI3_Init(void)
{

  /* SPI3 parameter configuration*/
  hspi3.Instance = SPI3;
  hspi3.Init.Mode = SPI_MODE_MASTER;
  hspi3.Init.Direction = SPI_DIRECTION_2LINES;
  hspi3.Init.DataSize = SPI_DATASIZE_8BIT;
  hspi3.Init.CLKPolarity = SPI_POLARITY_LOW;
  hspi3.Init.CLKPhase = SPI_PHASE_2EDGE;
  hspi3.Init.NSS = SPI_NSS_SOFT;
  hspi3.Init.BaudRatePrescaler = SPI_BAUDRATEPRESCALER_16;
  hspi3.Init.FirstBit = SPI_FIRSTBIT_MSB;
  hspi3.Init.TIMode = SPI_TIMODE_DISABLE;
  hspi3.Init.CRCCalculation = SPI_CRCCALCULATION_DISABLE;
  hspi3.Init.CRCPolynomial = 7;
  hspi3.Init.CRCLength = SPI_CRC_LENGTH_DATASIZE;
  hspi3.Init.NSSPMode = SPI_NSS_PULSE_DISABLE;
  if (HAL_SPI_Init(&hspi3) != HAL_OK)
  {
    Error_Handler();
  }

}

static void MX_TIM1_Init(void)
{

  TIM_Encoder_InitTypeDef sConfig = {0};
  TIM_MasterConfigTypeDef sMasterConfig = {0};

  htim1.Instance = TIM1;
  htim1.Init.Prescaler = 0;
  htim1.Init.CounterMode = TIM_COUNTERMODE_UP;
  htim1.Init.Period = 65535;
  htim1.Init.ClockDivision = TIM_CLOCKDIVISION_DIV1;
  htim1.Init.RepetitionCounter = 0;
  htim1.Init.AutoReloadPreload = TIM_AUTORELOAD_PRELOAD_DISABLE;
  sConfig.EncoderMode = TIM_ENCODERMODE_TI1;
  sConfig.IC1Polarity = TIM_ICPOLARITY_RISING;
  sConfig.IC1Selection = TIM_ICSELECTION_DIRECTTI;
  sConfig.IC1Prescaler = TIM_ICPSC_DIV1;
  sConfig.IC1Filter = 0;
  sConfig.IC2Polarity = TIM_ICPOLARITY_RISING;
  sConfig.IC2Selection = TIM_ICSELECTION_DIRECTTI;
  sConfig.IC2Prescaler = TIM_ICPSC_DIV1;
  sConfig.IC2Filter = 0;
  if (HAL_TIM_Encoder_Init(&htim1, &sConfig) != HAL_OK)
  {
    Error_Handler();
  }
  sMasterConfig.MasterOutputTrigger = TIM_TRGO_RESET;
  sMasterConfig.MasterOutputTrigger2 = TIM_TRGO2_RESET;
  sMasterConfig.MasterSlaveMode = TIM_MASTERSLAVEMODE_DISABLE;
  if (HAL_TIMEx_MasterConfigSynchronization(&htim1, &sMasterConfig) != HAL_OK)
  {
    Error_Handler();
  }

}

static void MX_TIM2_Init(void)
{

  TIM_Encoder_InitTypeDef sConfig = {0};
  TIM_MasterConfigTypeDef sMasterConfig = {0};

  htim2.Instance = TIM2;
  htim2.Init.Prescaler = 0;
  htim2.Init.CounterMode = TIM_COUNTERMODE_UP;
  htim2.Init.Period = 4294967295;
  htim2.Init.ClockDivision = TIM_CLOCKDIVISION_DIV1;
  htim2.Init.AutoReloadPreload = TIM_AUTORELOAD_PRELOAD_DISABLE;
  sConfig.EncoderMode = TIM_ENCODERMODE_TI1;
  sConfig.IC1Polarity = TIM_ICPOLARITY_RISING;
  sConfig.IC1Selection = TIM_ICSELECTION_DIRECTTI;
  sConfig.IC1Prescaler = TIM_ICPSC_DIV1;
  sConfig.IC1Filter = 0;
  sConfig.IC2Polarity = TIM_ICPOLARITY_RISING;
  sConfig.IC2Selection = TIM_ICSELECTION_DIRECTTI;
  sConfig.IC2Prescaler = TIM_ICPSC_DIV1;
  sConfig.IC2Filter = 0;
  if (HAL_TIM_Encoder_Init(&htim2, &sConfig) != HAL_OK)
  {
    Error_Handler();
  }
  sMasterConfig.MasterOutputTrigger = TIM_TRGO_RESET;
  sMasterConfig.MasterSlaveMode = TIM_MASTERSLAVEMODE_DISABLE;
  if (HAL_TIMEx_MasterConfigSynchronization(&htim2, &sMasterConfig) != HAL_OK)
  {
    Error_Handler();
  }

}

static void MX_TIM3_Init(void)
{

  TIM_MasterConfigTypeDef sMasterConfig = {0};
  TIM_OC_InitTypeDef sConfigOC = {0};

  htim3.Instance = TIM3;
  htim3.Init.Prescaler = 0;
  htim3.Init.CounterMode = TIM_COUNTERMODE_UP;
  htim3.Init.Period = 65535;
  htim3.Init.ClockDivision = TIM_CLOCKDIVISION_DIV1;
  htim3.Init.AutoReloadPreload = TIM_AUTORELOAD_PRELOAD_DISABLE;
  if (HAL_TIM_PWM_Init(&htim3) != HAL_OK)
  {
    Error_Handler();
  }
  if (HAL_TIM_OC_Init(&htim3) != HAL_OK)
  {
    Error_Handler();
  }
  sMasterConfig.MasterOutputTrigger = TIM_TRGO_RESET;
  sMasterConfig.MasterSlaveMode = TIM_MASTERSLAVEMODE_DISABLE;
  if (HAL_TIMEx_MasterConfigSynchronization(&htim3, &sMasterConfig) != HAL_OK)
  {
    Error_Handler();
  }
  sConfigOC.OCMode = TIM_OCMODE_PWM1;
  sConfigOC.Pulse = 0;
  sConfigOC.OCPolarity = TIM_OCPOLARITY_HIGH;
  sConfigOC.OCFastMode = TIM_OCFAST_DISABLE;
  if (HAL_TIM_PWM_ConfigChannel(&htim3, &sConfigOC, TIM_CHANNEL_1) != HAL_OK)
  {
    Error_Handler();
  }
  sConfigOC.OCMode = TIM_OCMODE_TIMING;
  if (HAL_TIM_OC_ConfigChannel(&htim3, &sConfigOC, TIM_CHANNEL_2) != HAL_OK)
  {
    Error_Handler();
  }
  sConfigOC.OCMode = TIM_OCMODE_PWM1;
  if (HAL_TIM_PWM_ConfigChannel(&htim3, &sConfigOC, TIM_CHANNEL_3) != HAL_OK)
  {
    Error_Handler();
  }
  if (HAL_TIM_PWM_ConfigChannel(&htim3, &sConfigOC, TIM_CHANNEL_4) != HAL_OK)
  {
    Error_Handler();
  }
  HAL_TIM_MspPostInit(&htim3);

}

static void MX_TIM8_Init(void)
{

  TIM_MasterConfigTypeDef sMasterConfig = {0};
  TIM_OC_InitTypeDef sConfigOC = {0};
  TIM_BreakDeadTimeConfigTypeDef sBreakDeadTimeConfig = {0};

  htim8.Instance = TIM8;
  htim8.Init.Prescaler = 0;
  htim8.Init.CounterMode = TIM_COUNTERMODE_UP;
  htim8.Init.Period = 65535;
  htim8.Init.ClockDivision = TIM_CLOCKDIVISION_DIV1;
  htim8.Init.RepetitionCounter = 0;
  htim8.Init.AutoReloadPreload = TIM_AUTORELOAD_PRELOAD_DISABLE;
  if (HAL_TIM_PWM_Init(&htim8) != HAL_OK)
  {
    Error_Handler();
  }
  sMasterConfig.MasterOutputTrigger = TIM_TRGO_RESET;
  sMasterConfig.MasterOutputTrigger2 = TIM_TRGO2_RESET;
  sMasterConfig.MasterSlaveMode = TIM_MASTERSLAVEMODE_DISABLE;
  if (HAL_TIMEx_MasterConfigSynchronization(&htim8, &sMasterConfig) != HAL_OK)
  {
    Error_Handler();
  }
  sConfigOC.OCMode = TIM_OCMODE_PWM1;
  sConfigOC.Pulse = 0;
  sConfigOC.OCPolarity = TIM_OCPOLARITY_HIGH;
  sConfigOC.OCNPolarity = TIM_OCNPOLARITY_HIGH;
  sConfigOC.OCFastMode = TIM_OCFAST_DISABLE;
  sConfigOC.OCIdleState = TIM_OCIDLESTATE_RESET;
  sConfigOC.OCNIdleState = TIM_OCNIDLESTATE_RESET;
  if (HAL_TIM_PWM_ConfigChannel(&htim8, &sConfigOC, TIM_CHANNEL_3) != HAL_OK)
  {
    Error_Handler();
  }
  sBreakDeadTimeConfig.OffStateRunMode = TIM_OSSR_DISABLE;
  sBreakDeadTimeConfig.OffStateIDLEMode = TIM_OSSI_DISABLE;
  sBreakDeadTimeConfig.LockLevel = TIM_LOCKLEVEL_OFF;
  sBreakDeadTimeConfig.DeadTime = 0;
  sBreakDeadTimeConfig.BreakState = TIM_BREAK_DISABLE;
  sBreakDeadTimeConfig.BreakPolarity = TIM_BREAKPOLARITY_HIGH;
  sBreakDeadTimeConfig.BreakFilter = 0;
  sBreakDeadTimeConfig.BreakAFMode = TIM_BREAK_AFMODE_INPUT;
  sBreakDeadTimeConfig.Break2State = TIM_BREAK2_DISABLE;
  sBreakDeadTimeConfig.Break2Polarity = TIM_BREAK2POLARITY_HIGH;
  sBreakDeadTimeConfig.Break2Filter = 0;
  sBreakDeadTimeConfig.Break2AFMode = TIM_BREAK_AFMODE_INPUT;
  sBreakDeadTimeConfig.AutomaticOutput = TIM_AUTOMATICOUTPUT_DISABLE;
  if (HAL_TIMEx_ConfigBreakDeadTime(&htim8, &sBreakDeadTimeConfig) != HAL_OK)
  {
    Error_Handler();
  }
  HAL_TIM_MspPostInit(&htim8);

}

static void MX_TIM15_Init(void)
{

  TIM_MasterConfigTypeDef sMasterConfig = {0};
  TIM_OC_InitTypeDef sConfigOC = {0};
  TIM_BreakDeadTimeConfigTypeDef sBreakDeadTimeConfig = {0};

  htim15.Instance = TIM15;
  htim15.Init.Prescaler = 2-1;
  htim15.Init.CounterMode = TIM_COUNTERMODE_UP;
  htim15.Init.Period = 99;
  htim15.Init.ClockDivision = TIM_CLOCKDIVISION_DIV1;
  htim15.Init.RepetitionCounter = 0;
  htim15.Init.AutoReloadPreload = TIM_AUTORELOAD_PRELOAD_DISABLE;
  if (HAL_TIM_PWM_Init(&htim15) != HAL_OK)
  {
    Error_Handler();
  }
  sMasterConfig.MasterOutputTrigger = TIM_TRGO_RESET;
  sMasterConfig.MasterSlaveMode = TIM_MASTERSLAVEMODE_DISABLE;
  if (HAL_TIMEx_MasterConfigSynchronization(&htim15, &sMasterConfig) != HAL_OK)
  {
    Error_Handler();
  }
  sConfigOC.OCMode = TIM_OCMODE_PWM1;
  sConfigOC.Pulse = 0;
  sConfigOC.OCPolarity = TIM_OCPOLARITY_HIGH;
  sConfigOC.OCNPolarity = TIM_OCNPOLARITY_HIGH;
  sConfigOC.OCFastMode = TIM_OCFAST_DISABLE;
  sConfigOC.OCIdleState = TIM_OCIDLESTATE_RESET;
  sConfigOC.OCNIdleState = TIM_OCNIDLESTATE_RESET;
  if (HAL_TIM_PWM_ConfigChannel(&htim15, &sConfigOC, TIM_CHANNEL_1) != HAL_OK)
  {
    Error_Handler();
  }
  sBreakDeadTimeConfig.OffStateRunMode = TIM_OSSR_DISABLE;
  sBreakDeadTimeConfig.OffStateIDLEMode = TIM_OSSI_DISABLE;
  sBreakDeadTimeConfig.LockLevel = TIM_LOCKLEVEL_OFF;
  sBreakDeadTimeConfig.DeadTime = 0;
  sBreakDeadTimeConfig.BreakState = TIM_BREAK_DISABLE;
  sBreakDeadTimeConfig.BreakPolarity = TIM_BREAKPOLARITY_HIGH;
  sBreakDeadTimeConfig.BreakFilter = 0;
  sBreakDeadTimeConfig.AutomaticOutput = TIM_AUTOMATICOUTPUT_DISABLE;
  if (HAL_TIMEx_ConfigBreakDeadTime(&htim15, &sBreakDeadTimeConfig) != HAL_OK)
  {
    Error_Handler();
  }
  HAL_TIM_MspPostInit(&htim15);

}

static void MX_USART1_UART_Init(void)
{

  huart1.Instance = USART1;
  huart1.Init.BaudRate = 115200;
  huart1.Init.WordLength = UART_WORDLENGTH_8B;
  huart1.Init.StopBits = UART_STOPBITS_1;
  huart1.Init.Parity = UART_PARITY_NONE;
  huart1.Init.Mode = UART_MODE_TX_RX;
  huart1.Init.HwFlowCtl = UART_HWCONTROL_NONE;
  huart1.Init.OverSampling = UART_OVERSAMPLING_16;
  huart1.Init.OneBitSampling = UART_ONE_BIT_SAMPLE_DISABLE;
  huart1.Init.ClockPrescaler = UART_PRESCALER_DIV1;
  huart1.AdvancedInit.AdvFeatureInit = UART_ADVFEATURE_NO_INIT;
  if (HAL_UART_Init(&huart1) != HAL_OK)
  {
    Error_Handler();
  }
  if (HAL_UARTEx_SetTxFifoThreshold(&huart1, UART_TXFIFO_THRESHOLD_1_8) != HAL_OK)
  {
    Error_Handler();
  }
  if (HAL_UARTEx_SetRxFifoThreshold(&huart1, UART_RXFIFO_THRESHOLD_1_8) != HAL_OK)
  {
    Error_Handler();
  }
  if (HAL_UARTEx_DisableFifoMode(&huart1) != HAL_OK)
  {
    Error_Handler();
  }

}

static void MX_DMA_Init(void)
{

  /* DMA controller clock enable */
  __HAL_RCC_DMAMUX1_CLK_ENABLE();
  __HAL_RCC_DMA1_CLK_ENABLE();

  /* DMA interrupt init */
  /* DMA1_Channel1_IRQn interrupt configuration */
  HAL_NVIC_SetPriority(DMA1_Channel1_IRQn, 0, 0);
  HAL_NVIC_EnableIRQ(DMA1_Channel1_IRQn);

}

static void MX_GPIO_Init(void)
{
  GPIO_InitTypeDef GPIO_InitStruct = {0};

  /* GPIO Ports Clock Enable */
  __HAL_RCC_GPIOC_CLK_ENABLE();
  __HAL_RCC_GPIOF_CLK_ENABLE();
  __HAL_RCC_GPIOA_CLK_ENABLE();
  __HAL_RCC_GPIOB_CLK_ENABLE();
  __HAL_RCC_GPIOD_CLK_ENABLE();

  /*Configure GPIO pin Output Level */
  HAL_GPIO_WritePin(GPIOC, LEFT_FRONT_EMMITER_Pin|LEFT_M_EMMITER_Pin|LEFT_LM_EMMITER_Pin, GPIO_PIN_RESET);

  /*Configure GPIO pin Output Level */
  HAL_GPIO_WritePin(GPIOA, ENCODERL_CS_Pin|RIGHT_M_EMMITER_Pin, GPIO_PIN_RESET);

  /*Configure GPIO pin Output Level */
  HAL_GPIO_WritePin(GPIOB, ENCODERR_CS_Pin|RIGHT_RM_EMMITER_Pin|RIGHT_FRONT_EMMITER_Pin|BUZZER_Pin, GPIO_PIN_RESET);

  /*Configure GPIO pins : LEFT_FRONT_EMMITER_Pin LEFT_M_EMMITER_Pin LEFT_LM_EMMITER_Pin */
  GPIO_InitStruct.Pin = LEFT_FRONT_EMMITER_Pin|LEFT_M_EMMITER_Pin|LEFT_LM_EMMITER_Pin;
  GPIO_InitStruct.Mode = GPIO_MODE_OUTPUT_PP;
  GPIO_InitStruct.Pull = GPIO_NOPULL;
  GPIO_InitStruct.Speed = GPIO_SPEED_FREQ_LOW;
  HAL_GPIO_Init(GPIOC, &GPIO_InitStruct);

  /*Configure GPIO pins : ENCODERL_CS_Pin RIGHT_M_EMMITER_Pin */
  GPIO_InitStruct.Pin = ENCODERL_CS_Pin|RIGHT_M_EMMITER_Pin;
  GPIO_InitStruct.Mode = GPIO_MODE_OUTPUT_PP;
  GPIO_InitStruct.Pull = GPIO_NOPULL;
  GPIO_InitStruct.Speed = GPIO_SPEED_FREQ_LOW;
  HAL_GPIO_Init(GPIOA, &GPIO_InitStruct);

  /*Configure GPIO pins : ENCODERR_CS_Pin RIGHT_RM_EMMITER_Pin RIGHT_FRONT_EMMITER_Pin BUZZER_Pin */
  GPIO_InitStruct.Pin = ENCODERR_CS_Pin|RIGHT_RM_EMMITER_Pin|RIGHT_FRONT_EMMITER_Pin|BUZZER_Pin;
  GPIO_InitStruct.Mode = GPIO_MODE_OUTPUT_PP;
  GPIO_InitStruct.Pull = GPIO_NOPULL;
  GPIO_InitStruct.Speed = GPIO_SPEED_FREQ_LOW;
  HAL_GPIO_Init(GPIOB, &GPIO_InitStruct);

  /*Configure GPIO pin : RIGHT_RM_RECEIVER_Pin */
  GPIO_InitStruct.Pin = RIGHT_RM_RECEIVER_Pin;
  GPIO_InitStruct.Mode = GPIO_MODE_ANALOG;
  GPIO_InitStruct.Pull = GPIO_NOPULL;
  HAL_GPIO_Init(RIGHT_RM_RECEIVER_GPIO_Port, &GPIO_InitStruct);

  /*Configure GPIO pin : BUTTON_Pin */
  GPIO_InitStruct.Pin = BUTTON_Pin;
  GPIO_InitStruct.Mode = GPIO_MODE_INPUT;
  GPIO_InitStruct.Pull = GPIO_NOPULL;
  HAL_GPIO_Init(BUTTON_GPIO_Port, &GPIO_InitStruct);

}

void Error_Handler(void)
{
  __disable_irq();
  while (1)
  {
  }
}
